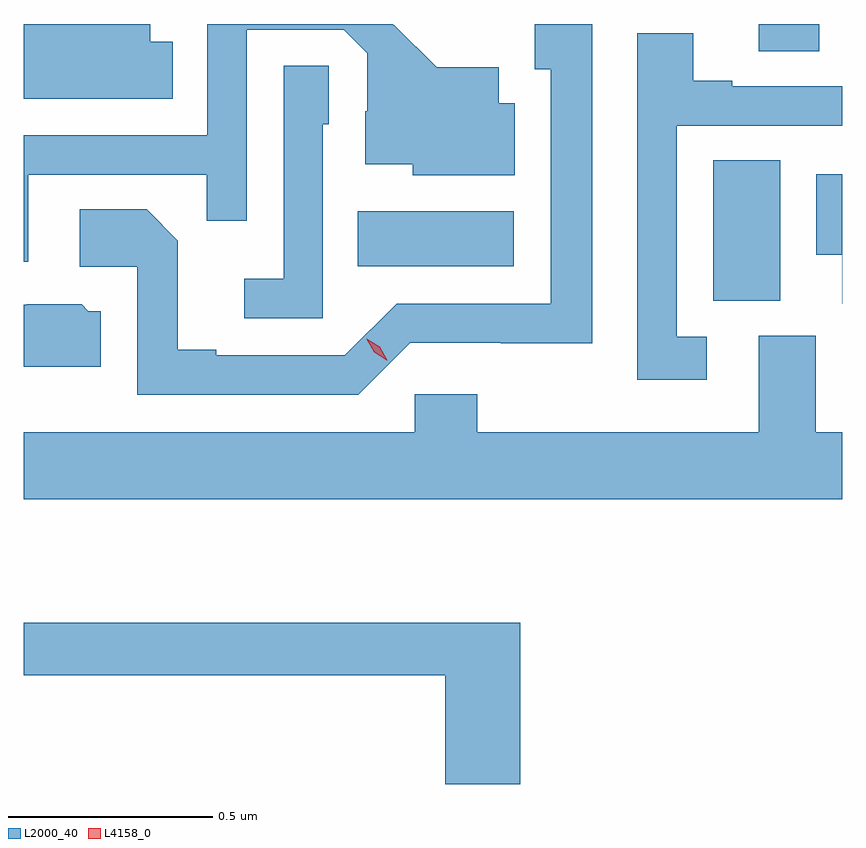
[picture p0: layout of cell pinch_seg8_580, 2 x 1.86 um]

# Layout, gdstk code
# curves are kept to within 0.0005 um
import gdstk
lib = gdstk.Library(unit=1e-6, precision=1e-09)
def R(c, l, rs):  # rectangles x0, y0, x1, y1
    for r in rs: c.add(gdstk.rectangle(r[:2], r[2:], *l))
def P(c, l, *ps):  # polygons
    for p in ps: c.add(gdstk.Polygon(p, *l))
L2000_40 = (2000, 40)
L4158_0 = (4158, 0)

pinch_seg8_580 = lib.new_cell('pinch_seg8_580')
R(pinch_seg8_580, L2000_40, [(174.422,1112.989,174.586,1113.332), (173.554,1113.074,173.935,1113.208), (174.533,1113.598,174.681,1113.665)])
P(pinch_seg8_580, L2000_40, [(173.682,1112.886),(173.904,1112.886),(173.904,1112.885),(174.127,1112.885),(174.127,1113.665),(173.987,1113.665),(173.987,1113.555),(174.026,1113.555),(174.026,1112.982),(173.649,1112.982),(173.523,1112.856),(173.209,1112.856),(173.209,1112.869),(173.115,1112.869),(173.115,1113.136),(173.039,1113.212),(172.875,1113.212),(172.875,1113.072),(173.016,1113.072),(173.016,1112.76),(173.556,1112.76)],
  [(173.102,1113.622),(173.047,1113.622),(173.047,1113.665),(172.738,1113.665),(172.738,1113.482),(173.102,1113.482)],
  [(172.749,1113.297),(173.185,1113.297),(173.185,1113.184),(173.283,1113.184),(173.283,1113.651),(173.52,1113.651),(173.577,1113.594),(173.577,1113.452),(173.573,1113.452),(173.573,1113.323),(173.688,1113.323),(173.688,1113.296),(173.938,1113.296),(173.938,1113.472),(173.899,1113.472),(173.899,1113.559),(173.747,1113.559),(173.64,1113.665),(173.187,1113.665),(173.187,1113.393),(172.738,1113.393),(172.738,1113.084),(172.749,1113.084)],
  [(174.406,1112.901),(174.333,1112.901),(174.333,1113.417),(174.738,1113.417),(174.738,1113.513),(174.469,1113.513),(174.469,1113.526),(174.373,1113.526),(174.373,1113.643),(174.237,1113.643),(174.237,1112.796),(174.406,1112.796)],
  [(173.469,1113.42),(173.484,1113.42),(173.484,1113.563),(173.373,1113.563),(173.373,1113.043),(173.277,1113.043),(173.277,1112.946),(173.469,1112.946)],
  [(174.738,1113.298),(174.674,1113.298),(174.674,1113.101),(174.737,1113.101),(174.737,1112.982),(174.738,1112.982)],
  [(172.927,1112.964),(172.896,1112.964),(172.88,1112.98),(172.746,1112.98),(172.746,1112.979),(172.738,1112.979),(172.738,1112.828),(172.927,1112.828)],
  [(174.738,1112.668),(174.673,1112.668),(174.673,1112.904),(174.533,1112.904),(174.533,1112.668),(173.846,1112.668),(173.846,1112.761),(173.694,1112.761),(173.694,1112.668),(172.738,1112.668),(172.738,1112.504),(174.738,1112.504)],
  [(173.951,1112.203),(172.738,1112.203),(172.738,1112.074),(173.768,1112.074),(173.768,1111.809),(173.951,1111.809)])
P(pinch_seg8_580, L4158_0, [(173.625,1112.844),(173.594,1112.863),(173.576,1112.895),(173.576,1112.896),(173.576,1112.896),(173.608,1112.877),(173.626,1112.844),(173.626,1112.844)])

lib.write_gds('pinch_seg8_580.gds')
